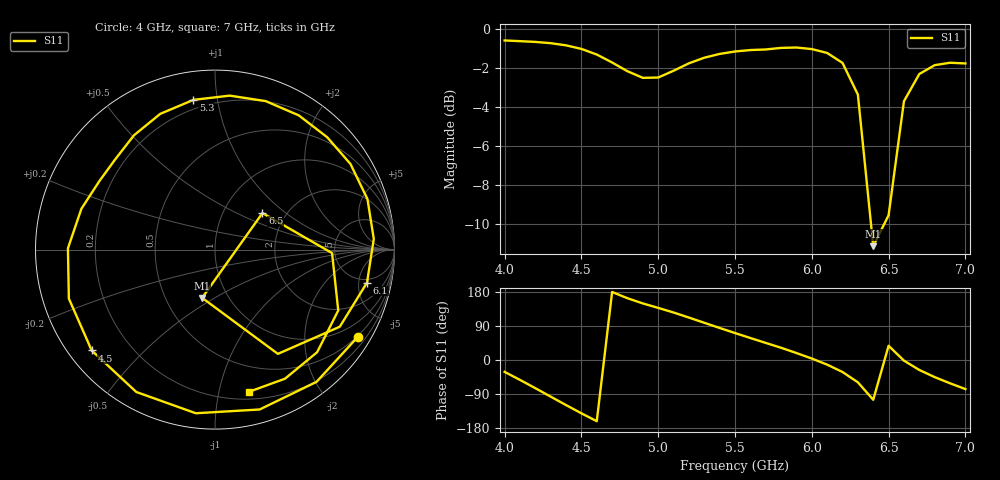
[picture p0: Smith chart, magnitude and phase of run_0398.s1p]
! Touchstone file exported from HFSS 2024.2.0
!  File:  C:/Users/wsak9/Desktop/Sim Fast/Widenad Patch/WP_AI_V1_sweep.aedt
!  Generated:  08:06:13 AM Oct 14, 2026
!  Design:  A1_model
!  Project:  WP_AI_V1_sweep
!  Setup:  Setup1
!  Solution:  Sweep
! Variables:
!  Air_gap = 1.81mm
!  Curve_Amp1 = 1.25
!  Curve_len1 = 1
!  Curve_pos = 9.58mm
!  Extra = 5.44mm
!  H_sub = 0.79mm
!  L_Patch = 15.16mm
!  L_Patch1 = 19.17mm
!  Sx = 1.33mm
!  Sy = 4.37mm
!  WS = 0.74mm
!  W_Patch = 18.38mm
!  W_Patch1 = 13.73mm
!Data is not renormalized
# GHz S MA
! Terminal data exported
! Port[1] = 1
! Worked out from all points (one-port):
!   31 points, 4 GHz to 7 GHz, reference per port
!   lowest |S11| = -11.1 dB at 6.4 GHz (marker M1), VSWR 1.77
!   |S11| at or under -10 dB: 6.386 GHz to 6.47 GHz (84.8 MHz wide, 1.32 % of centre)
!   S11 on the Smith chart (normalised r, x): 4 GHz: 0.47, -3.51; 4.5 GHz: 0.07, -0.36; 5.3 GHz: 0.15, +0.86; 6.1 GHz: 4.35, -6.43; 6.5 GHz: 1.53, +0.70; 7 GHz: 0.26, -1.23
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4  0.9328 -31.3
4.1  0.929 -52.5
4.2  0.9248 -74.4
4.3  0.918 -96.7
4.4  0.9064 -118.9
4.5  0.8876 -140.7
4.6  0.8587 -161.5
4.7  0.8195 179.5
4.8  0.7783 163.0
5.1  0.7806 125.3
5.2  0.8156 111.9
5.3  0.8428 98.2
5.4  0.8618 84.5
5.5  0.8742 71.2
5.7  0.8846 45.1
5.8  0.8929 32.3
5.9  0.8949 18.4
6  0.8867 3.8
6.1  0.8667 -12.2
6.2  0.8173 -31.7
6.3  0.6784 -58.9
6.4  0.2782 -104.9
6.5  0.3337 37.6
6.6  0.6525 -1.7
6.7  0.7659 -26.3
6.8  0.8066 -45.1
6.9  0.8182 -61.5
7  0.8148 -76.7
